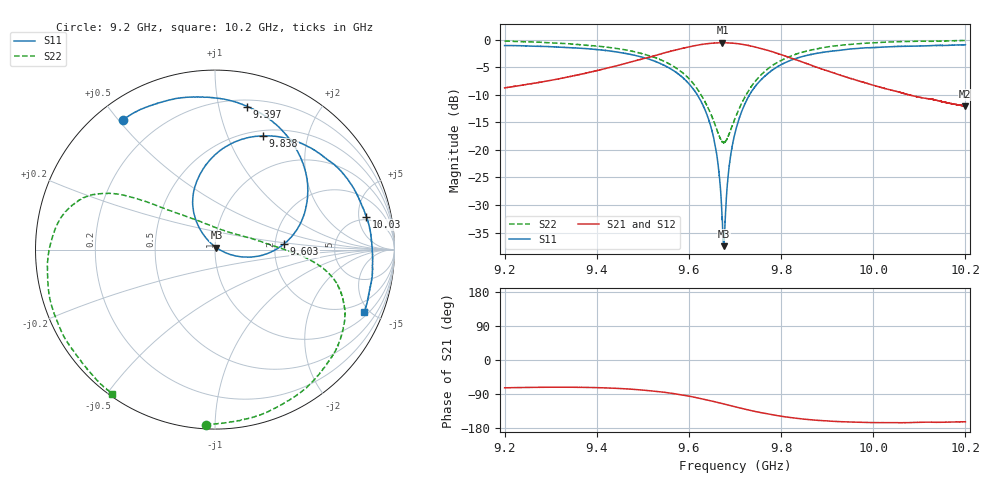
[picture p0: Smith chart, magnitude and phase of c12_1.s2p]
!Agilent Technologies,N5242A,MY51221714,A.09.90.19
!Agilent N5242A: A.09.90.19
!Date: Saturday, December 30, 2023 10:44:04
!Correction: S11(Full 2 Port(1,2))
!S21(Full 2 Port(1,2))
!S12(Full 2 Port(1,2))
!S22(Full 2 Port(1,2))
!S2P File: Measurements: S11, S21, S12, S22:
# Hz S  dB  R 50
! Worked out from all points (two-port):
!   16001 points, 9.2 GHz to 10.2 GHz, reference 50 ohm
!   highest |S21| = -0.53 dB at 9.673 GHz (marker M1); lowest = -12.1 dB at 10.2 GHz (marker M2)
!   |S21| within 3 dB of the highest: 9.496627 GHz to 9.496858 GHz (230.4 kHz wide, 0.00243 % of centre); 9.497 GHz to 9.828 GHz (331.4 MHz wide, 3.43 % of centre)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
!   lowest |S11| = -37.5 dB at 9.676 GHz (marker M3), VSWR 1.03, Z = 50.8 + j1.1 ohm
!   |S11| at or under -10 dB: 9.618 GHz to 9.732 GHz (113.4 MHz wide, 1.17 % of centre)
!   |S22| runs from -18.7 to -0.1 dB; largest |S21 - S12| = 0.015
!   S11 on the Smith chart (normalised r, x): 9.2 GHz: 0.08, +0.51; 9.397 GHz: 0.25, +1.22; 9.603 GHz: 2.24, +0.16; 9.838 GHz: 0.56, +1.35; 10.03 GHz: 4.43, +6.31; 10.2 GHz: 1.25, -4.64
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9.2e9  -1.05 125.4  -8.73 -73.3  -8.70 -74.1  -0.21 -93.0
9.275562e9  -1.18 108.1  -7.72 -72.0  -7.71 -72.7  -0.43 -72.4
9.366688e9  -1.54 85.6  -6.24 -72.2  -6.22 -73.0  -0.92 -48.8
9.397e9  -1.76 77.3  -5.67 -72.9  -5.63 -73.7  -1.12 -41.2
9.533375e9  -4.15 33.6  -2.70 -83.2  -2.68 -83.9  -3.45 -13.4
9.603e9  -8.27 4.5  -1.23 -96.1  -1.22 -96.9  -7.31 -1.8
9.63125e9  -12.02 -8.1  -0.81 -103.2  -0.79 -103.9  -10.70 6.4
9.651438e9  -17.00 -15.9  -0.61 -108.9  -0.61 -109.5  -14.27 20.5
9.663625e9  -22.87 -17.2  -0.55 -112.4  -0.54 -113.1  -16.97 38.0
9.672812e9  -33.61 7.2  -0.53 -115.1  -0.52 -115.8  -18.55 62.1
9.675562e9  -37.48 53.8  -0.54 -116.0  -0.52 -116.7  -18.67 70.3
9.688e9  -22.62 127.5  -0.58 -119.7  -0.55 -120.5  -16.96 104.1
9.7e9  -16.98 125.9  -0.65 -123.3  -0.62 -124.1  -14.30 121.5
9.720812e9  -11.78 118.2  -0.89 -129.5  -0.86 -130.4  -10.51 136.6
9.748312e9  -7.99 104.5  -1.40 -136.9  -1.37 -137.7  -7.09 144.3
9.837562e9  -3.24 67.1  -3.78 -154.3  -3.78 -155.1  -2.46 156.1
9.866688e9  -2.63 56.9  -4.65 -158.0  -4.65 -158.7  -1.83 160.4
9.950188e9  -1.67 32.4  -7.00 -163.6  -6.99 -164.3  -0.84 175.7
1.003219e10  -1.28 12.2  -8.99 -165.2  -8.98 -166.1  -0.41 -166.5
1.003338e10  -1.27 11.8  -9.01 -165.3  -9.01 -166.1  -0.40 -166.3
1.019981e10  -0.90 -22.8  -12.06 -162.9  -12.04 -163.9  -0.13 -125.5
1.02e10  -0.90 -22.8  -12.05 -163.0  -12.04 -163.8  -0.12 -125.5
